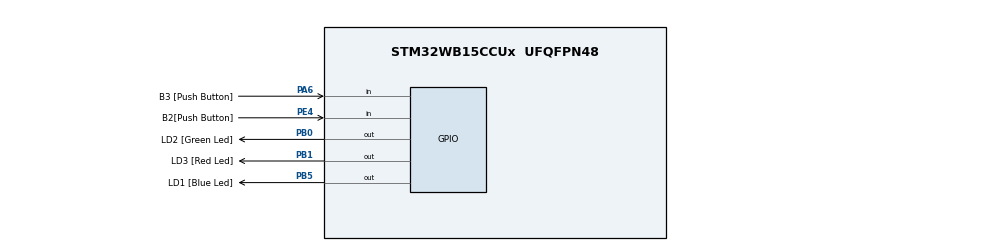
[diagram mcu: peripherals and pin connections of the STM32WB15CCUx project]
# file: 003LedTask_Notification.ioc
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Mcu.Family=STM32WB
Mcu.Name=STM32WB15CCUx
Mcu.Package=UFQFPN48
NVIC.PriorityGroup=NVIC_PRIORITYGROUP_4
NVIC.TIM1_UP_IRQn=true\:15\:0\:false\:false\:true\:false\:true\:true
NVIC.TimeBase=TIM1_UP_IRQn
NVIC.TimeBaseIP=TIM1
OSC_IN.Mode=HSE-External-Oscillator
OSC_IN.Signal=RCC_OSC_IN
OSC_OUT.Mode=HSE-External-Oscillator
OSC_OUT.Signal=RCC_OSC_OUT
PA0.GPIO_Label=B1 [push Button]
PA0.Mode=SYS_WakeUp0
PA0.Signal=SYS_WKUP1
PA10.GPIO_Label=STLINK_TX
PA10.Signal=USART1_RX
PA13.GPIO_Label=JTMS
PA13.Signal=SYS_JTMS-SWDIO
PA14.GPIO_Label=JTCK
PA14.Signal=SYS_JTCK-SWCLK
PA6.GPIO_Label=B3 [Push Button]
PA6.Signal=GPIO_Input
PA9.GPIO_Label=STLINK_RX
PA9.Signal=USART1_TX
PB0.GPIO_Label=LD2 [Green Led]
PB0.Signal=GPIO_Output
PB1.GPIO_Label=LD3 [Red Led]
PB1.Signal=GPIO_Output
PB3.GPIO_Label=JTDO
PB3.Signal=SYS_JTDO-SWO
PB5.GPIO_Label=LD1 [Blue Led]
PB5.Signal=GPIO_Output
PC14-OSC32_IN.Mode=LSE-External-Oscillator
PC14-OSC32_IN.Signal=RCC_OSC32_IN
PC15-OSC32_OUT.Mode=LSE-External-Oscillator
PC15-OSC32_OUT.Signal=RCC_OSC32_OUT
PE4.GPIO_Label=B2[Push Button]
PE4.GPIO_PuPd=GPIO_PULLUP
PE4.Signal=GPIO_Input
ProjectManager.HeapSize=0x200
ProjectManager.StackSize=0x400
ProjectManager.TargetToolchain=STM32CubeIDE
RCC.APB3Freq_Value=16000000
RCC.HSE_VALUE=32000000
RCC.HSI_VALUE=16000000
RCC.LSE_Drive_Capability=RCC_LSEDRIVE_LOW
RCC.VCOOutputFreq_Value=32000000
VP_SYS_VS_tim1.Mode=TIM1
board=NUCLEO-WB15CC

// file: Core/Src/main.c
/* USER CODE BEGIN Header */
/**
  ******************************************************************************
  * @file           : main.c
  * @brief          : Main program body
  ******************************************************************************
  * @attention
  *
  * Copyright (c) 2023 STMicroelectronics.
  * All rights reserved.
  *
  * This software is licensed under terms that can be found in the LICENSE file
  * in the root directory of this software component.
  * If no LICENSE file comes with this software, it is provided AS-IS.
  *
  ******************************************************************************
  */
/* USER CODE END Header */
#include "main.h"

/* USER CODE BEGIN Includes */
#include "FreeRTOS.h"
#include "task.h"
#include <stdio.h>

/* USER CODE END Includes */

/* USER CODE BEGIN PD */
#define DWT_CTRL (*(volatile uint32_t*)0xE0001000)
/* USER CODE END PD */

/* USER CODE BEGIN PV */

	TaskHandle_t gLedHandle;
	TaskHandle_t bLedHandle;
	TaskHandle_t rLedHandle;
	TaskHandle_t btnHandle;

	TaskHandle_t volatile nextTaskHandle = NULL;
/* USER CODE END PV */

void SystemClock_Config(void);
void PeriphCommonClock_Config(void);
static void MX_GPIO_Init(void);
/* USER CODE BEGIN PFP */

static void GreenLedHandler(void* param);
static void BlueLedHandler(void* param);
static void RedLedHandler(void* param);
static void BtnHandler(void* param);
/* USER CODE END PFP */

int main(void)
{

  /* MCU Configuration--------------------------------------------------------*/

  /* Reset of all peripherals, Initializes the Flash interface and the Systick. */
  HAL_Init();

  /* Configure the system clock */
  SystemClock_Config();

/* Configure the peripherals common clocks */
  PeriphCommonClock_Config();

  /* Initialize all configured peripherals */
  MX_GPIO_Init();
  /* USER CODE BEGIN 2 */

  // Enable the CYCCNT counter for Arm Cortex M3/M4 processor register

  DWT_CTRL |= (1 << 0);

  // Call Segger APIs to start tracing
 // SEGGER_SYSVIEW_Conf();
 // SEGGER_SYSVIEW_Start();

  BaseType_t status;

  status = xTaskCreate(GreenLedHandler,
		  "Green Led Handler",
		  200,
		  NULL,
		  1,
		  &gLedHandle);

  configASSERT(status == pdPASS);

  status = xTaskCreate(BlueLedHandler,
		  "Blue Led Handler",
		  200,
		  NULL,
		  2,
		  &bLedHandle);

  configASSERT(status == pdPASS);

  nextTaskHandle = bLedHandle;

  status = xTaskCreate(RedLedHandler,
		  "Red Led Handler",
		  200,
		  NULL,
		  3,
		  &rLedHandle);

  configASSERT(status == pdPASS);

  status = xTaskCreate(BtnHandler,
		  "Button Handler",
		  200,
		  NULL,
		  4,
		  &btnHandle);

  configASSERT(status == pdPASS);

  // Start the freeRTOS scheduler
  vTaskStartScheduler();

  // If the control comes here then the launch of the scheduler has failed
  // Due to insufficient memory on the heap.
  // -- END --
  /* USER CODE END 2 */

  /* Infinite loop */
  while (1)
  {

  }
}

void SystemClock_Config(void)
{
  RCC_OscInitTypeDef RCC_OscInitStruct = {0};
  RCC_ClkInitTypeDef RCC_ClkInitStruct = {0};

  /** Configure LSE Drive Capability
  */
  HAL_PWR_EnableBkUpAccess();
  __HAL_RCC_LSEDRIVE_CONFIG(RCC_LSEDRIVE_LOW);

  /** Initializes the RCC Oscillators according to the specified parameters
  * in the RCC_OscInitTypeDef structure.
  */
  RCC_OscInitStruct.OscillatorType = RCC_OSCILLATORTYPE_HSI|RCC_OSCILLATORTYPE_HSE
                              |RCC_OSCILLATORTYPE_LSE|RCC_OSCILLATORTYPE_MSI;
  RCC_OscInitStruct.HSEState = RCC_HSE_ON;
  RCC_OscInitStruct.LSEState = RCC_LSE_ON;
  RCC_OscInitStruct.HSIState = RCC_HSI_ON;
  RCC_OscInitStruct.MSIState = RCC_MSI_ON;
  RCC_OscInitStruct.HSICalibrationValue = RCC_HSICALIBRATION_DEFAULT;
  RCC_OscInitStruct.MSICalibrationValue = RCC_MSICALIBRATION_DEFAULT;
  RCC_OscInitStruct.MSIClockRange = RCC_MSIRANGE_6;
  RCC_OscInitStruct.PLL.PLLState = RCC_PLL_NONE;
  if (HAL_RCC_OscConfig(&RCC_OscInitStruct) != HAL_OK)
  {
    Error_Handler();
  }

  /** Configure the SYSCLKSource, HCLK, PCLK1 and PCLK2 clocks dividers
  */
  RCC_ClkInitStruct.ClockType = RCC_CLOCKTYPE_HCLK4|RCC_CLOCKTYPE_HCLK2
                              |RCC_CLOCKTYPE_HCLK|RCC_CLOCKTYPE_SYSCLK
                              |RCC_CLOCKTYPE_PCLK1|RCC_CLOCKTYPE_PCLK2;
  RCC_ClkInitStruct.SYSCLKSource = RCC_SYSCLKSOURCE_MSI;
  RCC_ClkInitStruct.AHBCLKDivider = RCC_SYSCLK_DIV1;
  RCC_ClkInitStruct.APB1CLKDivider = RCC_HCLK_DIV1;
  RCC_ClkInitStruct.APB2CLKDivider = RCC_HCLK_DIV1;
  RCC_ClkInitStruct.AHBCLK2Divider = RCC_SYSCLK_DIV1;
  RCC_ClkInitStruct.AHBCLK4Divider = RCC_SYSCLK_DIV1;

  if (HAL_RCC_ClockConfig(&RCC_ClkInitStruct, FLASH_LATENCY_0) != HAL_OK)
  {
    Error_Handler();
  }

  /** Enable MSI Auto calibration
  */
  HAL_RCCEx_EnableMSIPLLMode();
}

void PeriphCommonClock_Config(void)
{
  RCC_PeriphCLKInitTypeDef PeriphClkInitStruct = {0};

  /** Initializes the peripherals clock
  */
  PeriphClkInitStruct.PeriphClockSelection = RCC_PERIPHCLK_SMPS;
  PeriphClkInitStruct.SmpsClockSelection = RCC_SMPSCLKSOURCE_HSI;
  PeriphClkInitStruct.SmpsDivSelection = RCC_SMPSCLKDIV_RANGE1;

  if (HAL_RCCEx_PeriphCLKConfig(&PeriphClkInitStruct) != HAL_OK)
  {
    Error_Handler();
  }
}

static void MX_GPIO_Init(void)
{
  GPIO_InitTypeDef GPIO_InitStruct = {0};

  /* GPIO Ports Clock Enable */
  __HAL_RCC_GPIOC_CLK_ENABLE();
  __HAL_RCC_GPIOA_CLK_ENABLE();
  __HAL_RCC_GPIOB_CLK_ENABLE();
  __HAL_RCC_GPIOE_CLK_ENABLE();

  /*Configure GPIO pin Output Level */
  HAL_GPIO_WritePin(GPIOB, LD2_Pin|LD3_Pin|LD1_Pin, GPIO_PIN_RESET);

  /*Configure GPIO pin : B3_Pin */
  GPIO_InitStruct.Pin = B3_Pin;
  GPIO_InitStruct.Mode = GPIO_MODE_INPUT;
  GPIO_InitStruct.Pull = GPIO_NOPULL;
  HAL_GPIO_Init(B3_GPIO_Port, &GPIO_InitStruct);

  /*Configure GPIO pins : STLINK_RX_Pin STLINK_TX_Pin */
  GPIO_InitStruct.Pin = STLINK_RX_Pin|STLINK_TX_Pin;
  GPIO_InitStruct.Mode = GPIO_MODE_AF_PP;
  GPIO_InitStruct.Pull = GPIO_NOPULL;
  GPIO_InitStruct.Speed = GPIO_SPEED_FREQ_LOW;
  GPIO_InitStruct.Alternate = GPIO_AF7_USART1;
  HAL_GPIO_Init(GPIOA, &GPIO_InitStruct);

  /*Configure GPIO pins : LD2_Pin LD3_Pin LD1_Pin */
  GPIO_InitStruct.Pin = LD2_Pin|LD3_Pin|LD1_Pin;
  GPIO_InitStruct.Mode = GPIO_MODE_OUTPUT_PP;
  GPIO_InitStruct.Pull = GPIO_NOPULL;
  GPIO_InitStruct.Speed = GPIO_SPEED_FREQ_LOW;
  HAL_GPIO_Init(GPIOB, &GPIO_InitStruct);

  /*Configure GPIO pin : B2_Pin */
  GPIO_InitStruct.Pin = B2_Pin;
  GPIO_InitStruct.Mode = GPIO_MODE_INPUT;
  GPIO_InitStruct.Pull = GPIO_PULLUP;
  HAL_GPIO_Init(B2_GPIO_Port, &GPIO_InitStruct);

}

/* USER CODE BEGIN 4 */

static void BlueLedHandler(void* param)
{
	BaseType_t status;
	const TickType_t xFrequency = pdMS_TO_TICKS(1000);

	while(1)
	{
		//SEGGER_SYSVIEW_PrintfTarget("Toggling blue led");
		HAL_GPIO_TogglePin(GPIOB, BLUE_LED);
		status = xTaskNotifyWait(0,0,NULL,xFrequency);
		if(status == pdTRUE)
		{
			vTaskSuspendAll();
			nextTaskHandle = gLedHandle;
			xTaskResumeAll();

			HAL_GPIO_WritePin(GPIOB, BLUE_LED, GPIO_PIN_SET);
			//vTaskDelete(NULL);
			vTaskSuspend(NULL);
		}
	}
}

static void GreenLedHandler(void* param)
{
	BaseType_t status;
	const TickType_t xFrequency = pdMS_TO_TICKS(800);
	while(1)
	{
		//SEGGER_SYSVIEW_PrintfTarget("Toggling green led");
		HAL_GPIO_TogglePin(GPIOB, GREEN_LED);
		status = xTaskNotifyWait(0,0,NULL,xFrequency);
		if(status == pdTRUE)
		{
			vTaskSuspendAll();
			nextTaskHandle = rLedHandle;
			xTaskResumeAll();

			HAL_GPIO_WritePin(GPIOB, GREEN_LED, GPIO_PIN_SET);
			//vTaskDelete(NULL);
			vTaskSuspend(NULL);
		}
	}
}

static void RedLedHandler(void* param)
{
	BaseType_t status;
	const TickType_t xFrequency = pdMS_TO_TICKS(400);
	while(1)
	{
		//SEGGER_SYSVIEW_PrintfTarget("Toggling red led");
		HAL_GPIO_TogglePin(GPIOB, RED_LED);
		status = xTaskNotifyWait(0,0,NULL,xFrequency);
		if(status == pdTRUE)
		{
			vTaskSuspendAll();
			nextTaskHandle = NULL;
			xTaskResumeAll();

			HAL_GPIO_WritePin(GPIOB, RED_LED, GPIO_PIN_SET);
			//vTaskDelete(btnHandle);
			//vTaskDelete(NULL);
			//vTaskSuspend(btnHandle);
			vTaskSuspend(NULL);
		}
	}
}

static void BtnHandler(void* param)
{
	volatile uint8_t buttonRead = 1;
	volatile uint8_t previousRead = 1;

	while(1)
	{
		// It goes low when the button is pressed.
		buttonRead = HAL_GPIO_ReadPin(GPIOE, B2_Pin);

		if(!buttonRead)
		{
			// This should execute on the 4th push after all the leds become high.
			if(nextTaskHandle == NULL)
			{
				vTaskSuspendAll();
				nextTaskHandle = bLedHandle;
				xTaskResumeAll();

				vTaskResume(bLedHandle);
				vTaskResume(gLedHandle);
				vTaskResume(rLedHandle);
			}

			if(previousRead)
			{
				xTaskNotify(nextTaskHandle, 0, eNoAction);
			}
		}
		previousRead = buttonRead;
		vTaskDelay(pdMS_TO_TICKS(200));
	}

}

void vApplicationIdleHook( void )
{
	HAL_PWR_EnterSLEEPMode(PWR_MAINREGULATOR_ON, PWR_SLEEPENTRY_WFI);
}

/* USER CODE END 4 */

void HAL_TIM_PeriodElapsedCallback(TIM_HandleTypeDef *htim)
{
  if (htim->Instance == TIM1) {
    HAL_IncTick();
  }
}

void Error_Handler(void)
{
  __disable_irq();
  while (1)
  {
  }
}
